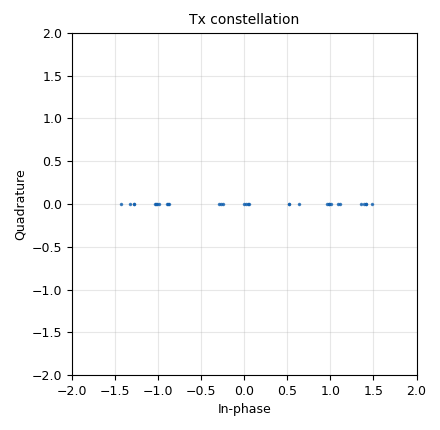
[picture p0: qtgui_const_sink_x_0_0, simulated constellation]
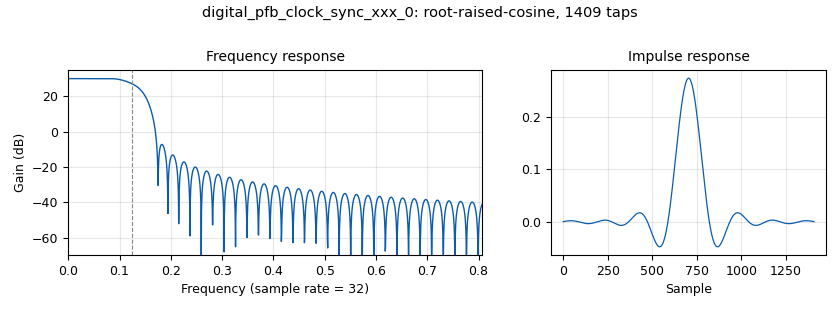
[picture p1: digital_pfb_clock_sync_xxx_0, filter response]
options:
  parameters:
    author: yabool2001
    comment: https://wiki.gnuradio.org/index.php/Packet_Communications
    copyright: mzemlo.pl@gmail.com
    generate_options: qt_gui
    id: Protocol_Formatter_sb_01
    output_language: python
    title: Protocol Formatter sandbox 01
  states: {}

blocks:
- name: access_key
  id: variable
  parameters:
    comment: |-
      HEX: F0 F0 AA AA
      DEC: 240 240 170 170
    value: '''11110000111100001010101010101010'''
  states: {}
- name: const_obj
  id: variable_constellation
  parameters:
    npwr: '1'
    precision: '8'
    type: bpsk
  states: {}
- name: header
  id: variable
  parameters:
    value: digital.header_format_default(access_key, 0)
  states: {}
- name: nfilts
  id: variable
  parameters:
    value: '32'
  states: {}
- name: samp_rate
  id: variable
  parameters:
    value: '32000'
  states: {}
- name: sps
  id: variable
  parameters:
    value: '4'
  states: {}
- name: blocks_message_debug_0
  id: blocks_message_debug
  parameters: {}
  states: {}
- name: blocks_message_strobe_1
  id: blocks_message_strobe
  parameters:
    comment: |-
      HEX: 0x13
      BIN: 0b00010011
      DEC: 19
    msg: pmt.cons ( pmt.PMT_NIL , pmt.make_u8vector ( 1 , 0x13 ) )
    period: '1000'
  states: {}
- name: blocks_pack_k_bits_bb_0
  id: blocks_pack_k_bits_bb
  parameters:
    k: '8'
  states: {}
- name: blocks_tagged_stream_mux_0
  id: blocks_tagged_stream_mux
  parameters:
    comment: Append header to payload
    lengthtagname: '"packet_len"'
    ninputs: '2'
    type: byte
  states: {}
- name: blocks_throttle2_0
  id: blocks_throttle2
  parameters:
    samples_per_second: samp_rate
    type: complex
  states: {}
- name: digital_constellation_decoder_cb_1_0
  id: digital_constellation_decoder_cb
  parameters:
    constellation: const_obj
  states: {}
- name: digital_constellation_modulator_0
  id: digital_constellation_modulator
  parameters:
    constellation: const_obj
    differential: 'False'
    excess_bw: '0.35'
    log: 'True'
    samples_per_symbol: sps
    verbose: 'True'
  states: {}
- name: digital_correlate_access_code_xx_ts_1_0
  id: digital_correlate_access_code_xx_ts
  parameters:
    access_code: access_key
    comment: Correlates with access code to extract the payload.
    tagname: '"packet_len"'
    threshold: '0'
    type: byte
  states: {}
- name: digital_crc_append_0
  id: digital_crc_append
  parameters:
    poly: '0x4C11DB7'
  states: {}
- name: digital_crc_check_0
  id: digital_crc_check
  parameters:
    discard_crc: 'True'
    poly: '0x4C11DB7'
  states: {}
- name: digital_pfb_clock_sync_xxx_0
  id: digital_pfb_clock_sync_xxx
  parameters:
    filter_size: '32'
    init_phase: '16'
    loop_bw: '0.0628'
    max_dev: '1.5'
    osps: '1'
    sps: sps
    taps: firdes.root_raised_cosine(nfilts, nfilts, 1.0/float(sps), 0.35, 11*sps*nfilts)
    type: ccf
  states: {}
- name: digital_protocol_formatter_bb_0
  id: digital_protocol_formatter_bb
  parameters:
    comment: Generate header
    format: header
    len_tag_key: '"packet_len"'
  states: {}
- name: epy_block_0_0
  id: epy_block
  parameters:
    _source_code: |
      from gnuradio import gr
      import numpy as np
      import time
      import os

      class complex_sps_file_sink(gr.sync_block):
          def __init__(self, samp_rate=32000, sps=2, filename="complex_log.csv"):
              gr.sync_block.__init__(self,
                  name="Complex Sps File Sink",
                  in_sig=[np.complex64],
                  out_sig=None)
              self.filename = filename
              self.samp_rate = samp_rate
              self.sps = sps
              self.start_time = time.time()
              self.sample_index = 0  # licznik próbek

              file_exists = os.path.isfile(filename)
              self.f = open(filename, "w", encoding="utf-8")

              if not file_exists or os.stat(filename).st_size == 0:
                  self.f.write("timestamp;real;imag;symbol_index;samp_rate\n")

          def work(self, input_items, output_items):
              elapsed = time.time() - self.start_time
              for c in input_items[0]:
                  timestamp = elapsed
                  ts = f"{timestamp:.6f}".replace('.', ',')
                  re = f"{c.real:.6f}".replace('.', ',')
                  im = f"{c.imag:.6f}".replace('.', ',')
                  symbol_idx = str(self.sample_index // self.sps)
                  sr = f"{self.samp_rate:.0f}".replace('.', ',')

                  self.f.write(f"{ts};{re};{im};{symbol_idx};{sr}\n")

                  elapsed += 1 / self.samp_rate
                  self.sample_index += 1

              self.f.flush()
              return len(input_items[0])
    filename: '"03_complex_tx_bpsk_mod_log.csv"'
    samp_rate: samp_rate
    sps: sps
  states: {state: disabled}
- name: epy_block_1_0
  id: epy_block
  parameters:
    _source_code: |
      from gnuradio import gr
      import numpy as np
      import time
      import os

      class byte_logger(gr.sync_block):
          def __init__(self, samp_rate=32000, filename="byte_log.csv"):
              gr.sync_block.__init__(self,
                  name="BYTE FILE SINK",
                  in_sig=[np.uint8],
                  out_sig=None)
              self.filename = filename
              self.samp_rate = samp_rate
              self.start_time = time.time()

              file_exists = os.path.isfile(filename)
              self.f = open(filename, "w", encoding="utf-8")

              if not file_exists or os.stat(filename).st_size == 0:
                  self.f.write("timestamp;byte;samp_rate\n")

          def work(self, input_items, output_items):
              current_time = time.time()
              elapsed = current_time - self.start_time

              for i, b in enumerate(input_items[0]):
                  timestamp = elapsed + (i / self.samp_rate)
                  ts = f"{timestamp:.6f}".replace('.', ',')
                  val = str(b)
                  sr = f"{self.samp_rate:.0f}".replace('.', ',')
                  self.f.write(f"{ts};{val};{sr}\n")

              self.f.flush()
              return len(input_items[0])
    filename: '"04_byte_rx_log.csv"'
    samp_rate: samp_rate
  states: {}
- name: epy_block_1_0_0
  id: epy_block
  parameters:
    _source_code: |
      from gnuradio import gr
      import numpy as np
      import time
      import os

      class byte_logger(gr.sync_block):
          def __init__(self, samp_rate=32000, filename="byte_log.csv"):
              gr.sync_block.__init__(self,
                  name="BYTE FILE SINK",
                  in_sig=[np.uint8],
                  out_sig=None)
              self.filename = filename
              self.samp_rate = samp_rate
              self.start_time = time.time()

              file_exists = os.path.isfile(filename)
              self.f = open(filename, "w", encoding="utf-8")

              if not file_exists or os.stat(filename).st_size == 0:
                  self.f.write("timestamp;byte;samp_rate\n")

          def work(self, input_items, output_items):
              current_time = time.time()
              elapsed = current_time - self.start_time

              for i, b in enumerate(input_items[0]):
                  timestamp = elapsed + (i / self.samp_rate)
                  ts = f"{timestamp:.6f}".replace('.', ',')
                  val = str(b)
                  sr = f"{self.samp_rate:.0f}".replace('.', ',')
                  self.f.write(f"{ts};{val};{sr}\n")

              self.f.flush()
              return len(input_items[0])
    filename: '"01_byte_tx_log.csv"'
    samp_rate: samp_rate
  states: {state: disabled}
- name: epy_block_1_0_0_0
  id: epy_block
  parameters:
    _source_code: |
      from gnuradio import gr
      import numpy as np
      import time
      import os

      class byte_logger(gr.sync_block):
          def __init__(self, samp_rate=32000, filename="byte_log.csv"):
              gr.sync_block.__init__(self,
                  name="BYTE FILE SINK",
                  in_sig=[np.uint8],
                  out_sig=None)
              self.filename = filename
              self.samp_rate = samp_rate
              self.start_time = time.time()

              file_exists = os.path.isfile(filename)
              self.f = open(filename, "w", encoding="utf-8")

              if not file_exists or os.stat(filename).st_size == 0:
                  self.f.write("timestamp;byte;samp_rate\n")

          def work(self, input_items, output_items):
              current_time = time.time()
              elapsed = current_time - self.start_time

              for i, b in enumerate(input_items[0]):
                  timestamp = elapsed + (i / self.samp_rate)
                  ts = f"{timestamp:.6f}".replace('.', ',')
                  val = str(b)
                  sr = f"{self.samp_rate:.0f}".replace('.', ',')
                  self.f.write(f"{ts};{val};{sr}\n")

              self.f.flush()
              return len(input_items[0])
    filename: '"02_byte_tx_log.csv"'
    samp_rate: samp_rate
  states: {state: disabled}
- name: epy_block_1_0_1
  id: epy_block
  parameters:
    _source_code: |
      from gnuradio import gr
      import numpy as np
      import time
      import os

      class byte_logger(gr.sync_block):
          def __init__(self, samp_rate=32000, filename="byte_log.csv"):
              gr.sync_block.__init__(self,
                  name="BYTE FILE SINK",
                  in_sig=[np.uint8],
                  out_sig=None)
              self.filename = filename
              self.samp_rate = samp_rate
              self.start_time = time.time()

              file_exists = os.path.isfile(filename)
              self.f = open(filename, "w", encoding="utf-8")

              if not file_exists or os.stat(filename).st_size == 0:
                  self.f.write("timestamp;byte;samp_rate\n")

          def work(self, input_items, output_items):
              current_time = time.time()
              elapsed = current_time - self.start_time

              for i, b in enumerate(input_items[0]):
                  timestamp = elapsed + (i / self.samp_rate)
                  ts = f"{timestamp:.6f}".replace('.', ',')
                  val = str(b)
                  sr = f"{self.samp_rate:.0f}".replace('.', ',')
                  self.f.write(f"{ts};{val};{sr}\n")

              self.f.flush()
              return len(input_items[0])
    filename: '"03_byte_rx_log.csv"'
    samp_rate: samp_rate
  states: {}
- name: pdu_pdu_to_tagged_stream_0
  id: pdu_pdu_to_tagged_stream
  parameters:
    tag: packet_len
    type: byte
  states: {}
- name: pdu_tagged_stream_to_pdu_0
  id: pdu_tagged_stream_to_pdu
  parameters:
    tag: packet_len
    type: byte
  states: {}
- name: qtgui_const_sink_x_0_0
  id: qtgui_const_sink_x
  parameters:
    name: '"Tx constellation"'
    size: sps*8
    type: complex
  states: {}
- name: qtgui_time_sink_x_0_0
  id: qtgui_time_sink_x
  parameters:
    name: '"Tx Time"'
    size: 4*sps
    srate: samp_rate
    type: complex
    ymax: '2'
    ymin: '-2'
  states: {state: disabled}

connections:
- [blocks_message_strobe_1, strobe, digital_crc_append_0, in]
- [blocks_pack_k_bits_bb_0, '0', epy_block_1_0, '0']
- [blocks_pack_k_bits_bb_0, '0', pdu_tagged_stream_to_pdu_0, '0']
- [blocks_tagged_stream_mux_0, '0', digital_constellation_modulator_0, '0']
- [blocks_tagged_stream_mux_0, '0', epy_block_1_0_0_0, '0']
- [blocks_throttle2_0, '0', digital_pfb_clock_sync_xxx_0, '0']
- [digital_constellation_decoder_cb_1_0, '0', digital_correlate_access_code_xx_ts_1_0, '0']
- [digital_constellation_modulator_0, '0', blocks_throttle2_0, '0']
- [digital_constellation_modulator_0, '0', epy_block_0_0, '0']
- [digital_constellation_modulator_0, '0', qtgui_const_sink_x_0_0, '0']
- [digital_constellation_modulator_0, '0', qtgui_time_sink_x_0_0, '0']
- [digital_correlate_access_code_xx_ts_1_0, '0', blocks_pack_k_bits_bb_0, '0']
- [digital_correlate_access_code_xx_ts_1_0, '0', epy_block_1_0_1, '0']
- [digital_crc_append_0, out, pdu_pdu_to_tagged_stream_0, pdus]
- [digital_crc_check_0, ok, blocks_message_debug_0, print]
- [digital_pfb_clock_sync_xxx_0, '0', digital_constellation_decoder_cb_1_0, '0']
- [digital_protocol_formatter_bb_0, '0', blocks_tagged_stream_mux_0, '0']
- [digital_protocol_formatter_bb_0, '0', epy_block_1_0_0, '0']
- [pdu_pdu_to_tagged_stream_0, '0', blocks_tagged_stream_mux_0, '1']
- [pdu_pdu_to_tagged_stream_0, '0', digital_protocol_formatter_bb_0, '0']
- [pdu_tagged_stream_to_pdu_0, pdus, digital_crc_check_0, in]

metadata:
  file_format: 1
  grc_version: 3.10.12.0
